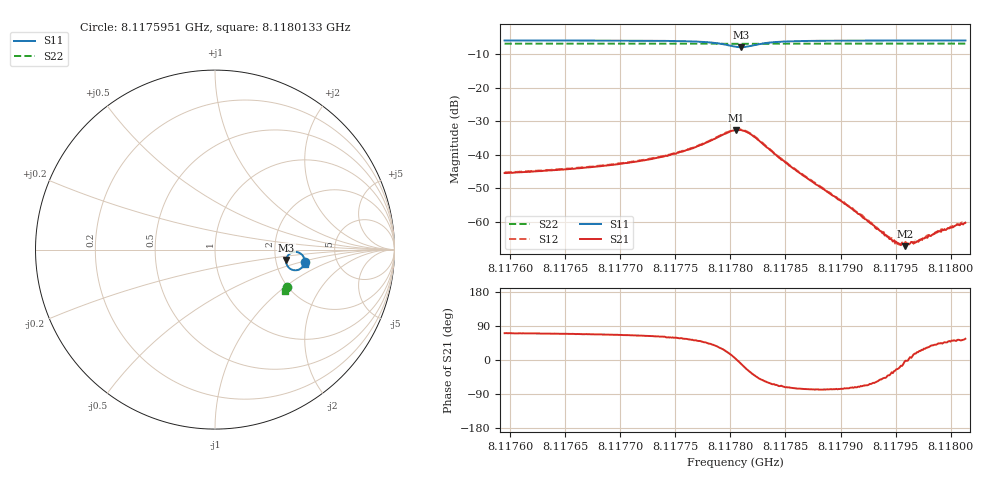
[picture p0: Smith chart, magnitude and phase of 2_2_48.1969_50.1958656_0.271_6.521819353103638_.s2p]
#  HZ  S  RI  R  50.00
! Rohde & Schwarz Vector Network Analyzer
! Rohde-Schwarz,ZNB20-2Port,1311601062101988,3.16
! Created: UTC 3/20/2024, 11:36:05 AM
! freq[Hz]  re:S11  im:S11  re:S21  im:S21  re:S12  im:S12  re:S22  im:S22
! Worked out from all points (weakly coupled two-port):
!   401 points, 8.1175951 GHz to 8.1180133 GHz, reference 50 ohm
!   highest |S21| = -32.59 dB at 8.1178052 GHz (marker M1); lowest = -67.3 dB at 8.1179589 GHz (marker M2)
!   lowest |S11| = -7.9 dB at 8.1178094 GHz (marker M3), VSWR 2.34, Z = 114 - j15.8 ohm
!   |S11| at or under -10 dB: nowhere
!   |S22| runs from -7.0 to -6.9 dB; largest |S21 - S12| = 0.00067
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8.11759513e9  0.5005 -0.0671  0.00175 0.00503  0.00185 0.00515  0.4016 -0.2083
8.11766517e9  0.4979 -0.0766  0.00236 0.00591  0.00243 0.006  0.3993 -0.2129
8.11770803e9  0.4946 -0.0851  0.00315 0.00692  0.00329 0.00702  0.3979 -0.2157
8.11773521e9  0.4898 -0.093  0.00429 0.00804  0.00443 0.00811  0.3968 -0.2177
8.11776552e9  0.4767 -0.1062  0.00738 0.00995  0.00764 0.01  0.3951 -0.22
8.11779061e9  0.4378 -0.1145  0.0161 0.00997  0.0165 0.0102  0.3924 -0.2214
8.1178042e9  0.4 -0.0837  0.0231 0.00201  0.0235 0.0018  0.3907 -0.2202
8.11780524e9  0.3983 -0.0789  0.0235 0.000867  0.0238 0.000718  0.3906 -0.2201
8.11780943e9  0.3965 -0.058  0.0231 -0.00379  0.0235 -0.00406  0.3906 -0.2192
8.11781465e9  0.406 -0.0337  0.0199 -0.00889  0.0204 -0.00903  0.3914 -0.2186
8.11782092e9  0.4279 -0.0167  0.0148 -0.0118  0.0151 -0.0122  0.3923 -0.2183
8.11784497e9  0.4824 -0.0263  0.00318 -0.00826  0.00324 -0.00841  0.3941 -0.221
8.11787424e9  0.4959 -0.0467  0.000858 -0.00389  0.000854 -0.00398  0.3934 -0.2237
8.11790873e9  0.499 -0.0595  0.000475 -0.00157  0.000453 -0.00161  0.3924 -0.2265
8.11794427e9  0.4995 -0.0676  0.000422 -0.000359  0.00045 -0.000381  0.3912 -0.2289
8.11795159e9  0.4996 -0.0689  0.00043 -0.00019  0.000449 -0.000228  0.3911 -0.2293
8.11795891e9  0.4995 -0.0701  0.000433 -1.41e-05  0.000505 -3.04e-05  0.3907 -0.2299
8.11796413e9  0.4993 -0.071  0.0005 5.01e-05  0.000479 5.01e-05  0.3905 -0.2304
8.11797354e9  0.4994 -0.0724  0.000486 0.000247  0.000493 0.00025  0.3904 -0.2308
8.11797981e9  0.4993 -0.0735  0.000517 0.000347  0.000531 0.000352  0.3901 -0.2313
8.1179934e9  0.4992 -0.0754  0.000523 0.000536  0.000536 0.000532  0.3895 -0.2321
8.11801326e9  0.4989 -0.0777  0.000541 0.000807  0.000562 0.000803  0.3888 -0.2334
